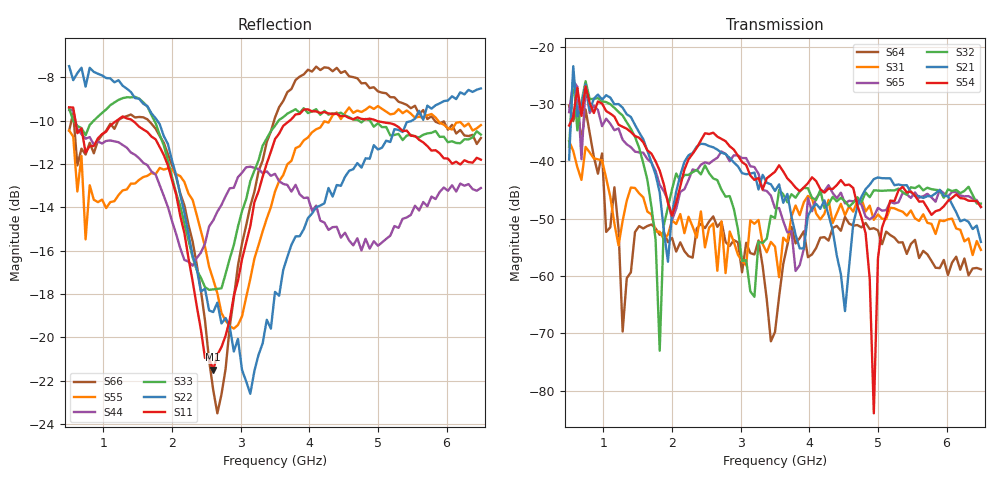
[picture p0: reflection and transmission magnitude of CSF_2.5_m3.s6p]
!Keysight Technologies,M9804A,MY58100912,A.14.10.03
!Date: Thursday, April 27, 2023 10:28:33
!Correction: S11(C  6-Port  )
!S12(C  6-Port  )
!S13(C  6-Port  )
!S14(C  6-Port  )
!S15(C  6-Port  )
!S16(C  6-Port  )
!S21(C  6-Port  )
!S22(C  6-Port  )
!S23(C  6-Port  )
!S24(C  6-Port  )
!S25(C  6-Port  )
!S26(C  6-Port  )
!S31(C  6-Port  )
!S32(C  6-Port  )
!S33(C  6-Port  )
!S34(C  6-Port  )
!S35(C  6-Port  )
!S36(C  6-Port  )
!S41(C  6-Port  )
!S42(C  6-Port  )
!S43(C  6-Port  )
!S44(C  6-Port  )
!S45(C  6-Port  )
!S46(C  6-Port  )
!S51(C  6-Port  )
!S52(C  6-Port  )
!S53(C  6-Port  )
!S54(C  6-Port  )
!S55(C  6-Port  )
!S56(C  6-Port  )
!S61(C  6-Port  )
!S62(C  6-Port  )
!S63(C  6-Port  )
!S64(C  6-Port  )
!S65(C  6-Port  )
!S66(C  6-Port  )
!S6P File: Measurement: :
# Hz S  RI  R 50
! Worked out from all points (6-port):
!   101 points, 500 MHz to 6.5 GHz, reference 50 ohm
!   strongest paths, dB at 500 MHz, 2 GHz, 3.5 GHz, 5 GHz, 6.5 GHz:
!     S54: -33.7, -49.5, -41.8, -56.9, -47.9
!     S21: -39.7, -49.0, -45.2, -42.8, -54.1
!     S32: -37.5, -44.9, -49.9, -45.1, -47.4
!     S65: -31.4, -50.2, -48.2, -48.1, -48.0
!     S31: -36.5, -50.3, -54.9, -49.3, -55.5
!     S64: -30.2, -53.4, -69.8, -52.0, -58.8
!   lowest |S11| = -21.5 dB at 2.6 GHz (marker M1), VSWR 1.18, Z = 42.5 + j2.17 ohm
!   |S11| at or under -10 dB: 590.4 MHz to 1.195 GHz (604.8 MHz wide, 67.7 % of centre); 1.422 GHz to 3.715 GHz (2.292 GHz wide, 89.2 % of centre); 4.973 GHz to end of sweep
